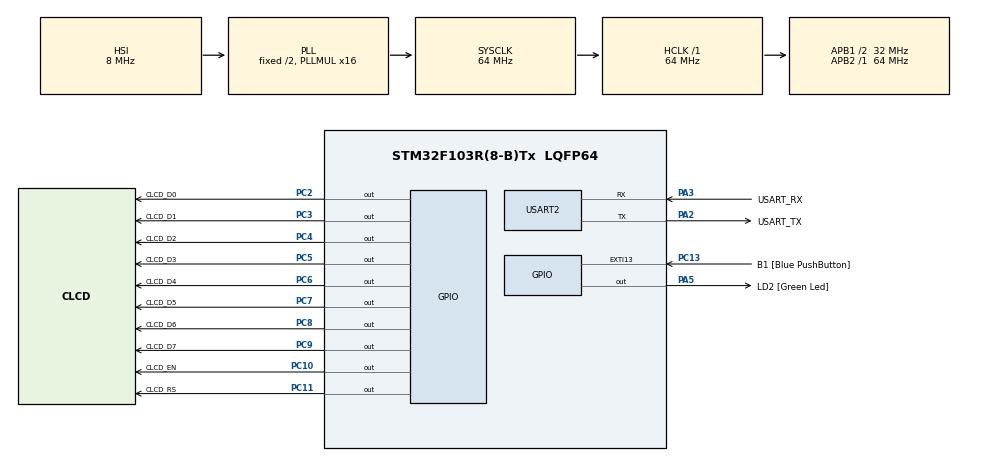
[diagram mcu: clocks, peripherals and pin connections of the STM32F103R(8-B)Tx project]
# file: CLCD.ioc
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Mcu.Family=STM32F1
Mcu.Name=STM32F103R(8-B)Tx
Mcu.Package=LQFP64
NVIC.EXTI15_10_IRQn=true\:0\:0\:false\:false\:true\:true\:true\:true
NVIC.PriorityGroup=NVIC_PRIORITYGROUP_4
PA13.GPIO_Label=TMS
PA13.Mode=Serial_Wire
PA13.Signal=SYS_JTMS-SWDIO
PA14.GPIO_Label=TCK
PA14.Mode=Serial_Wire
PA14.Signal=SYS_JTCK-SWCLK
PA2.GPIO_Label=USART_TX
PA2.GPIO_Mode=GPIO_MODE_AF_PP
PA2.GPIO_PuPd=GPIO_NOPULL
PA2.GPIO_Speed=GPIO_SPEED_FREQ_LOW
PA2.Mode=Asynchronous
PA2.Signal=USART2_TX
PA3.GPIO_Label=USART_RX
PA3.GPIO_Mode=GPIO_MODE_AF_PP
PA3.GPIO_PuPd=GPIO_NOPULL
PA3.GPIO_Speed=GPIO_SPEED_FREQ_LOW
PA3.Mode=Asynchronous
PA3.Signal=USART2_RX
PA5.GPIO_Label=LD2 [Green Led]
PA5.GPIO_ModeDefaultOutputPP=GPIO_MODE_OUTPUT_PP
PA5.GPIO_PuPd=GPIO_NOPULL
PA5.GPIO_Speed=GPIO_SPEED_FREQ_LOW
PA5.Signal=GPIO_Output
PB3.GPIO_Label=SWO
PB3.Signal=SYS_JTDO-TRACESWO
PC10.GPIO_Label=CLCD_EN
PC10.Signal=GPIO_Output
PC11.GPIO_Label=CLCD_RS
PC11.Signal=GPIO_Output
PC13-TAMPER-RTC.GPIO_Label=B1 [Blue PushButton]
PC13-TAMPER-RTC.GPIO_PuPd=GPIO_NOPULL
PC13-TAMPER-RTC.Signal=GPXTI13
PC14-OSC32_IN.Mode=LSE-External-Oscillator
PC14-OSC32_IN.Signal=RCC_OSC32_IN
PC15-OSC32_OUT.Mode=LSE-External-Oscillator
PC15-OSC32_OUT.Signal=RCC_OSC32_OUT
PC2.GPIO_Label=CLCD_D0
PC2.Signal=GPIO_Output
PC3.GPIO_Label=CLCD_D1
PC3.Signal=GPIO_Output
PC4.GPIO_Label=CLCD_D2
PC4.Signal=GPIO_Output
PC5.GPIO_Label=CLCD_D3
PC5.Signal=GPIO_Output
PC6.GPIO_Label=CLCD_D4
PC6.Signal=GPIO_Output
PC7.GPIO_Label=CLCD_D5
PC7.Signal=GPIO_Output
PC8.GPIO_Label=CLCD_D6
PC8.Signal=GPIO_Output
PC9.GPIO_Label=CLCD_D7
PC9.Signal=GPIO_Output
PD0-OSC_IN.Mode=HSE-External-Clock-Source
PD0-OSC_IN.Signal=RCC_OSC_IN
PD1-OSC_OUT.Mode=HSE-External-Clock-Source
PD1-OSC_OUT.Signal=RCC_OSC_OUT
ProjectManager.HeapSize=0x200
ProjectManager.StackSize=0x400
ProjectManager.TargetToolchain=STM32CubeIDE
RCC.AHBFreq_Value=64000000
RCC.APB1CLKDivider=RCC_HCLK_DIV2
RCC.APB1Freq_Value=32000000
RCC.APB1TimFreq_Value=64000000
RCC.APB2Freq_Value=64000000
RCC.APB2TimFreq_Value=64000000
RCC.HCLKFreq_Value=64000000
RCC.PLLMUL=RCC_PLL_MUL16
RCC.RTCClockSelection=RCC_RTCCLKSOURCE_LSE
RCC.SYSCLKFreq_VALUE=64000000
RCC.SYSCLKSource=RCC_SYSCLKSOURCE_PLLCLK
RCC.USBFreq_Value=64000000
USART2.VirtualMode=VM_ASYNC
board=NUCLEO-F103RB

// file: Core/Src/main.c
/* USER CODE BEGIN Header */
/**
  ******************************************************************************
  * @file           : main.c
  * @brief          : Main program body
  ******************************************************************************
  * @attention
  *
  * Copyright (c) 2024 STMicroelectronics.
  * All rights reserved.
  *
  * This software is licensed under terms that can be found in the LICENSE file
  * in the root directory of this software component.
  * If no LICENSE file comes with this software, it is provided AS-IS.
  *
  ******************************************************************************
  */
/* USER CODE END Header */
#include "main.h"

/* USER CODE BEGIN Includes */

#include <stdio.h>

/* USER CODE END Includes */

UART_HandleTypeDef huart2;

void SystemClock_Config(void);
static void MX_GPIO_Init(void);
static void MX_USART2_UART_Init(void);

/* USER CODE BEGIN 0 */

void LCD_delay() {
/*	for(int i = 0; i < 16; i++) {
		__ASM volatile ("NOP");
	} */
	HAL_Delay(1);
}

void CLCD_cmd8(char cmd) {
	HAL_GPIO_WritePin(CLCD_RS_GPIO_Port, CLCD_RS_Pin, 0);

	__ASM volatile ("NOP");
	__ASM volatile ("NOP");

	HAL_GPIO_WritePin(CLCD_D7_GPIO_Port, CLCD_D7_Pin, (cmd >> 7) & 0x01);
	HAL_GPIO_WritePin(CLCD_D6_GPIO_Port, CLCD_D6_Pin, (cmd >> 6) & 0x01);
	HAL_GPIO_WritePin(CLCD_D5_GPIO_Port, CLCD_D5_Pin, (cmd >> 5) & 0x01);
	HAL_GPIO_WritePin(CLCD_D4_GPIO_Port, CLCD_D4_Pin, (cmd >> 4) & 0x01);
	HAL_GPIO_WritePin(CLCD_D3_GPIO_Port, CLCD_D3_Pin, (cmd >> 3) & 0x01);
	HAL_GPIO_WritePin(CLCD_D2_GPIO_Port, CLCD_D2_Pin, (cmd >> 2) & 0x01);
	HAL_GPIO_WritePin(CLCD_D1_GPIO_Port, CLCD_D1_Pin, (cmd >> 1) & 0x01);
	HAL_GPIO_WritePin(CLCD_D0_GPIO_Port, CLCD_D0_Pin, (cmd >> 0) & 0x01);

	HAL_GPIO_WritePin(CLCD_EN_GPIO_Port, CLCD_EN_Pin, 1);
	LCD_delay();

	HAL_GPIO_WritePin(CLCD_EN_GPIO_Port, CLCD_EN_Pin, 0);
	LCD_delay();
}

void CLCD_cmd4(char cmd) {
	HAL_GPIO_WritePin(CLCD_RS_GPIO_Port, CLCD_RS_Pin, 0);

	__ASM volatile ("NOP");
	__ASM volatile ("NOP");

	HAL_GPIO_WritePin(CLCD_D3_GPIO_Port, CLCD_D3_Pin, (cmd >> 3) & 0x01);
	HAL_GPIO_WritePin(CLCD_D2_GPIO_Port, CLCD_D2_Pin, (cmd >> 2) & 0x01);
	HAL_GPIO_WritePin(CLCD_D1_GPIO_Port, CLCD_D1_Pin, (cmd >> 1) & 0x01);
	HAL_GPIO_WritePin(CLCD_D0_GPIO_Port, CLCD_D0_Pin, (cmd >> 0) & 0x01);

	HAL_GPIO_WritePin(CLCD_EN_GPIO_Port, CLCD_EN_Pin, 1);
	LCD_delay();

	HAL_GPIO_WritePin(CLCD_EN_GPIO_Port, CLCD_EN_Pin, 0);
	LCD_delay();
}

void CLCD_str8(char x, char y, char *str) {
	CLCD_cmd8(((y == 0) ? 0x80 : 0xc0) + x);

	HAL_GPIO_WritePin(CLCD_RS_GPIO_Port, CLCD_RS_Pin, 1);

	__ASM volatile ("NOP");
	__ASM volatile ("NOP");

	while(*str) {
		HAL_GPIO_WritePin(CLCD_D3_GPIO_Port, CLCD_D3_Pin, (*str >> 7) & 0x01);
		HAL_GPIO_WritePin(CLCD_D2_GPIO_Port, CLCD_D2_Pin, (*str >> 6) & 0x01);
		HAL_GPIO_WritePin(CLCD_D1_GPIO_Port, CLCD_D1_Pin, (*str >> 5) & 0x01);
		HAL_GPIO_WritePin(CLCD_D0_GPIO_Port, CLCD_D0_Pin, (*str >> 4) & 0x01);
		HAL_GPIO_WritePin(CLCD_D3_GPIO_Port, CLCD_D3_Pin, (*str >> 3) & 0x01);
		HAL_GPIO_WritePin(CLCD_D2_GPIO_Port, CLCD_D2_Pin, (*str >> 2) & 0x01);
		HAL_GPIO_WritePin(CLCD_D1_GPIO_Port, CLCD_D1_Pin, (*str >> 1) & 0x01);
		HAL_GPIO_WritePin(CLCD_D0_GPIO_Port, CLCD_D0_Pin, (*str >> 0) & 0x01);

		HAL_GPIO_WritePin(CLCD_EN_GPIO_Port, CLCD_EN_Pin, 1);
		LCD_delay();

		HAL_GPIO_WritePin(CLCD_EN_GPIO_Port, CLCD_EN_Pin, 0);
		LCD_delay();

		str++;
	}
}

void CLCD_str4(char x, char y, char *str) {
	char cmd = ((y == 0) ? 0x80 : 0xc0) + x;
	CLCD_cmd4(cmd >> 4);
	CLCD_cmd4(cmd);

	HAL_GPIO_WritePin(CLCD_RS_GPIO_Port, CLCD_RS_Pin, 1);

	__ASM volatile ("NOP");
	__ASM volatile ("NOP");

	while(*str) {
		HAL_GPIO_WritePin(CLCD_D3_GPIO_Port, CLCD_D3_Pin, (*str >> 7) & 0x01);
		HAL_GPIO_WritePin(CLCD_D2_GPIO_Port, CLCD_D2_Pin, (*str >> 6) & 0x01);
		HAL_GPIO_WritePin(CLCD_D1_GPIO_Port, CLCD_D1_Pin, (*str >> 5) & 0x01);
		HAL_GPIO_WritePin(CLCD_D0_GPIO_Port, CLCD_D0_Pin, (*str >> 4) & 0x01);

		HAL_GPIO_WritePin(CLCD_EN_GPIO_Port, CLCD_EN_Pin, 1);
		LCD_delay();

		HAL_GPIO_WritePin(CLCD_EN_GPIO_Port, CLCD_EN_Pin, 0);
		LCD_delay();

		HAL_GPIO_WritePin(CLCD_D3_GPIO_Port, CLCD_D3_Pin, (*str >> 3) & 0x01);
		HAL_GPIO_WritePin(CLCD_D2_GPIO_Port, CLCD_D2_Pin, (*str >> 2) & 0x01);
		HAL_GPIO_WritePin(CLCD_D1_GPIO_Port, CLCD_D1_Pin, (*str >> 1) & 0x01);
		HAL_GPIO_WritePin(CLCD_D0_GPIO_Port, CLCD_D0_Pin, (*str >> 0) & 0x01);

		HAL_GPIO_WritePin(CLCD_EN_GPIO_Port, CLCD_EN_Pin, 1);
		LCD_delay();

		HAL_GPIO_WritePin(CLCD_EN_GPIO_Port, CLCD_EN_Pin, 0);
		LCD_delay();

		str++;
	}
}

/* USER CODE END 0 */

int main(void)
{

  /* MCU Configuration--------------------------------------------------------*/

  /* Reset of all peripherals, Initializes the Flash interface and the Systick. */
  HAL_Init();

  /* Configure the system clock */
  SystemClock_Config();

  /* Initialize all configured peripherals */
  MX_GPIO_Init();
  MX_USART2_UART_Init();
  /* USER CODE BEGIN 2 */

  HAL_Delay(200);

  /* function set */
//  CLCD_cmd(0x38);
  CLCD_cmd4(2);
  CLCD_cmd4(2);
  CLCD_cmd4(8);

  /* display on/off control */
//  CLCD_cmd(0x0c);
  CLCD_cmd4(0);
  CLCD_cmd4(12);

  /* display clear */
//  CLCD_cmd(0x01);
  CLCD_cmd4(0);
  CLCD_cmd4(1);
//  HAL_Delay(7); /* 6.2ms on sheet */
  HAL_Delay(20);

  /* entry mode set */
//  CLCD_cmd(0x06);
  CLCD_cmd4(0);
  CLCD_cmd4(6);

  /* cursor/display shift set */
//  CLCD_cmd(0x14);
  CLCD_cmd4(1);
  CLCD_cmd4(4);

  /* welcome display */
  CLCD_str4(0, 0, "MOCOM");
  HAL_Delay(1000);
  CLCD_str4(0, 1, "count = ");

  /* USER CODE END 2 */

  /* Infinite loop */
  /* USER CODE BEGIN WHILE */
  char i = 0;
  char buf[17] = { 0 };
  while (1)
  {
	  sprintf(buf, "%2d", i);
	  CLCD_str4(8, 1, buf);
	  if(++i > 99)
		  i = 0;
	  HAL_Delay(200);

    /* USER CODE END WHILE */

  }
}

void SystemClock_Config(void)
{
  RCC_OscInitTypeDef RCC_OscInitStruct = {0};
  RCC_ClkInitTypeDef RCC_ClkInitStruct = {0};

  /** Initializes the RCC Oscillators according to the specified parameters
  * in the RCC_OscInitTypeDef structure.
  */
  RCC_OscInitStruct.OscillatorType = RCC_OSCILLATORTYPE_HSI;
  RCC_OscInitStruct.HSIState = RCC_HSI_ON;
  RCC_OscInitStruct.HSICalibrationValue = RCC_HSICALIBRATION_DEFAULT;
  RCC_OscInitStruct.PLL.PLLState = RCC_PLL_ON;
  RCC_OscInitStruct.PLL.PLLSource = RCC_PLLSOURCE_HSI_DIV2;
  RCC_OscInitStruct.PLL.PLLMUL = RCC_PLL_MUL16;
  if (HAL_RCC_OscConfig(&RCC_OscInitStruct) != HAL_OK)
  {
    Error_Handler();
  }

  /** Initializes the CPU, AHB and APB buses clocks
  */
  RCC_ClkInitStruct.ClockType = RCC_CLOCKTYPE_HCLK|RCC_CLOCKTYPE_SYSCLK
                              |RCC_CLOCKTYPE_PCLK1|RCC_CLOCKTYPE_PCLK2;
  RCC_ClkInitStruct.SYSCLKSource = RCC_SYSCLKSOURCE_PLLCLK;
  RCC_ClkInitStruct.AHBCLKDivider = RCC_SYSCLK_DIV1;
  RCC_ClkInitStruct.APB1CLKDivider = RCC_HCLK_DIV2;
  RCC_ClkInitStruct.APB2CLKDivider = RCC_HCLK_DIV1;

  if (HAL_RCC_ClockConfig(&RCC_ClkInitStruct, FLASH_LATENCY_2) != HAL_OK)
  {
    Error_Handler();
  }
}

static void MX_USART2_UART_Init(void)
{

  huart2.Instance = USART2;
  huart2.Init.BaudRate = 115200;
  huart2.Init.WordLength = UART_WORDLENGTH_8B;
  huart2.Init.StopBits = UART_STOPBITS_1;
  huart2.Init.Parity = UART_PARITY_NONE;
  huart2.Init.Mode = UART_MODE_TX_RX;
  huart2.Init.HwFlowCtl = UART_HWCONTROL_NONE;
  huart2.Init.OverSampling = UART_OVERSAMPLING_16;
  if (HAL_UART_Init(&huart2) != HAL_OK)
  {
    Error_Handler();
  }

}

static void MX_GPIO_Init(void)
{
  GPIO_InitTypeDef GPIO_InitStruct = {0};

  /* GPIO Ports Clock Enable */
  __HAL_RCC_GPIOC_CLK_ENABLE();
  __HAL_RCC_GPIOD_CLK_ENABLE();
  __HAL_RCC_GPIOA_CLK_ENABLE();
  __HAL_RCC_GPIOB_CLK_ENABLE();

  /*Configure GPIO pin Output Level */
  HAL_GPIO_WritePin(GPIOC, CLCD_D0_Pin|CLCD_D1_Pin|CLCD_D2_Pin|CLCD_D3_Pin
                          |CLCD_D4_Pin|CLCD_D5_Pin|CLCD_D6_Pin|CLCD_D7_Pin
                          |CLCD_EN_Pin|CLCD_RS_Pin, GPIO_PIN_RESET);

  /*Configure GPIO pin Output Level */
  HAL_GPIO_WritePin(LD2_GPIO_Port, LD2_Pin, GPIO_PIN_RESET);

  /*Configure GPIO pin : B1_Pin */
  GPIO_InitStruct.Pin = B1_Pin;
  GPIO_InitStruct.Mode = GPIO_MODE_IT_RISING;
  GPIO_InitStruct.Pull = GPIO_NOPULL;
  HAL_GPIO_Init(B1_GPIO_Port, &GPIO_InitStruct);

  /*Configure GPIO pins : CLCD_D0_Pin CLCD_D1_Pin CLCD_D2_Pin CLCD_D3_Pin
                           CLCD_D4_Pin CLCD_D5_Pin CLCD_D6_Pin CLCD_D7_Pin
                           CLCD_EN_Pin CLCD_RS_Pin */
  GPIO_InitStruct.Pin = CLCD_D0_Pin|CLCD_D1_Pin|CLCD_D2_Pin|CLCD_D3_Pin
                          |CLCD_D4_Pin|CLCD_D5_Pin|CLCD_D6_Pin|CLCD_D7_Pin
                          |CLCD_EN_Pin|CLCD_RS_Pin;
  GPIO_InitStruct.Mode = GPIO_MODE_OUTPUT_PP;
  GPIO_InitStruct.Pull = GPIO_NOPULL;
  GPIO_InitStruct.Speed = GPIO_SPEED_FREQ_LOW;
  HAL_GPIO_Init(GPIOC, &GPIO_InitStruct);

  /*Configure GPIO pin : LD2_Pin */
  GPIO_InitStruct.Pin = LD2_Pin;
  GPIO_InitStruct.Mode = GPIO_MODE_OUTPUT_PP;
  GPIO_InitStruct.Pull = GPIO_NOPULL;
  GPIO_InitStruct.Speed = GPIO_SPEED_FREQ_LOW;
  HAL_GPIO_Init(LD2_GPIO_Port, &GPIO_InitStruct);

  /* EXTI interrupt init*/
  HAL_NVIC_SetPriority(EXTI15_10_IRQn, 0, 0);
  HAL_NVIC_EnableIRQ(EXTI15_10_IRQn);

}

void Error_Handler(void)
{
  __disable_irq();
  while (1)
  {
  }
}
